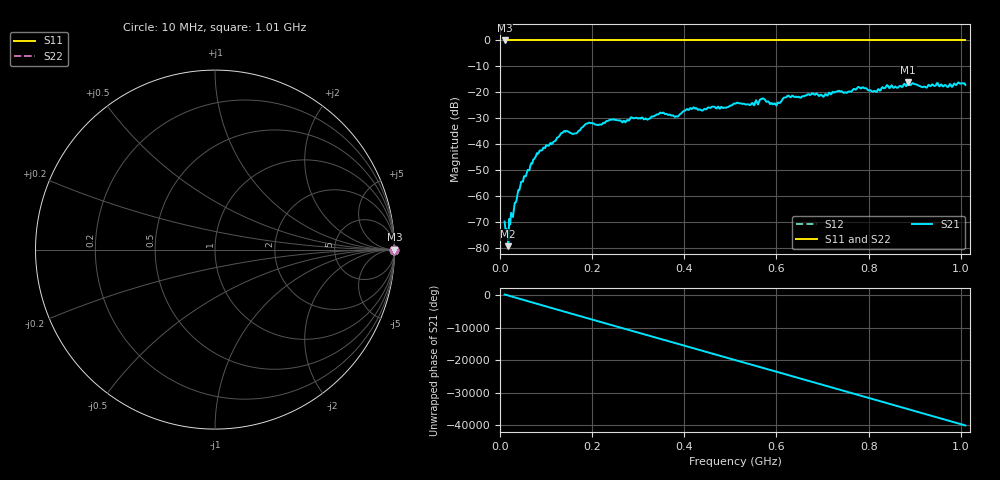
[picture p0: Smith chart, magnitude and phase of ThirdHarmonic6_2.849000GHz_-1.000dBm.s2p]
! 8/17/2025 7:42:05 AM
! C:\ANRITSUVNA\TEMP\TEMP.S2P
! CHANNEL.1
! TR.MEASUREMENT
! RAW.DATA
! RF.CORRECTION.OFF
! AVERAGING.OFF
! IF.BANDWIDTH: 5KHZ
! SWEEPTYPE:  FREQ.SWEEP(Linear)
! Reference Plane Port Info
! PORT:  PORT1  PORT2
! DISTANCE:  0  m  0  m
! TIME:  0  s  0  s
! PHASE.OFFSET:  0  deg.  0  deg.
! LOSS:  0  dB  0  dB
! REF.LOSS:  0  dB  0  dB
! REF.FREQ:  0  Hz  0  Hz
! Power Info
! POWER:  -20  dBm  -20  dBm
! EFF.POWER:  -20  dBm  -20  dBm
! SOURCE.ATTEN:  0  dB  0  dB
! TEST.ATTEN:  0  dB  0  dB
# GHZ S RI R 50.0
! FREQ.GHZ  S11RE  S11IM  S21RE  S21IM  S12RE  S12IM  S22RE  S22IM
!; PortSelection: Port_12
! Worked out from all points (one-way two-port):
!   501 points, 10 MHz to 1.01 GHz, reference 50 ohm
!   highest |S21| = -16.09 dB at 886 MHz (marker M1); lowest = -79.2 dB at 18 MHz (marker M2)
!   lowest |S11| = 0.0 dB at 10 MHz (marker M3)
!   |S11| at or under -10 dB: nowhere
!   |S22| runs from 0.0 to 0.0 dB; largest |S21 - S12| = 1.2
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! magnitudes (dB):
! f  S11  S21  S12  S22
! 10 MHz  0.0  -69.7  0.0  0.0
! 14 MHz  0.0  -72.6  0.0  0.0
! 18 MHz  0.0  -79.2  0.0  0.0
! 44 MHz  0.0  -55.9  0.0  0.0
! 82 MHz  0.0  -43.6  0.0  0.0
! 136 MHz  0.0  -35.5  0.0  0.0
! 162 MHz  0.0  -35.8  0.0  0.0
! 178 MHz  0.0  -33.5  0.0  0.0
! 344 MHz  0.0  -28.5  0.0  0.0
! 382 MHz  0.0  -29.2  0.0  0.0
! 416 MHz  0.0  -26.4  0.0  0.0
! 510 MHz  0.0  -24.3  0.0  0.0
! 548 MHz  0.0  -24.0  0.0  0.0
! 570 MHz  0.0  -22.3  0.0  0.0
! 596 MHz  0.0  -24.2  0.0  0.0
! 622 MHz  0.0  -21.7  0.0  0.0
! 678 MHz  0.0  -20.3  0.0  0.0
! 780 MHz  0.0  -18.0  0.0  0.0
! 814 MHz  0.0  -19.4  0.0  0.0
! 844 MHz  0.0  -18.2  0.0  0.0
! 886 MHz  0.0  -16.1  0.0  0.0
! 1.01 GHz  0.0  -17.1  0.0  0.0
